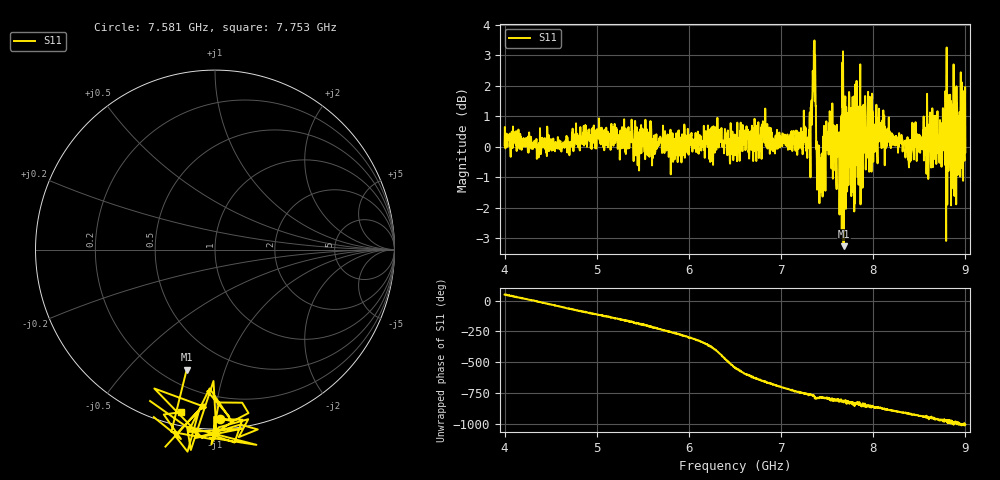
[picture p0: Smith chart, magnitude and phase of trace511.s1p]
! Created with skrf 1.8.0 (http://scikit-rf.org).
# Hz S RI R 50.0
!freq ReS11 ImS11
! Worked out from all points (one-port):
!   1601 points, 4 GHz to 9 GHz, reference 50 ohm
!   lowest |S11| = -3.3 dB at 7.678 GHz (marker M1), VSWR 5.39, Z = 14.8 - j37.4 ohm
!   |S11| at or under -10 dB: nowhere
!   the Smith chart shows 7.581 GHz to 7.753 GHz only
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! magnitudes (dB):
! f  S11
! 4 GHz  0.0
! 4.625 GHz  0.0
! 5.25 GHz  -0.4
! 5.875 GHz  0.1
! 6.328 GHz  0.6
! 6.5 GHz  -0.3
! 6.806 GHz  0.3
! 7.125 GHz  0.3
! 7.294 GHz  0.1
! 7.353 GHz  1.8
! 7.412 GHz  0.0
! 7.509 GHz  -0.1
! 7.616 GHz  0.5
! 7.672 GHz  3.1
! 7.678 GHz  -3.3
! 7.688 GHz  1.6
! 7.703 GHz  -2.0
! 7.75 GHz  -0.3
! 7.775 GHz  1.6
! 7.834 GHz  0.4
! 7.962 GHz  1.6
! 8.375 GHz  -0.1
! 8.444 GHz  0.2
! 8.728 GHz  0.1
! 8.775 GHz  0.4
! 8.869 GHz  0.0
! 8.972 GHz  0.4
! 9 GHz  -0.2
